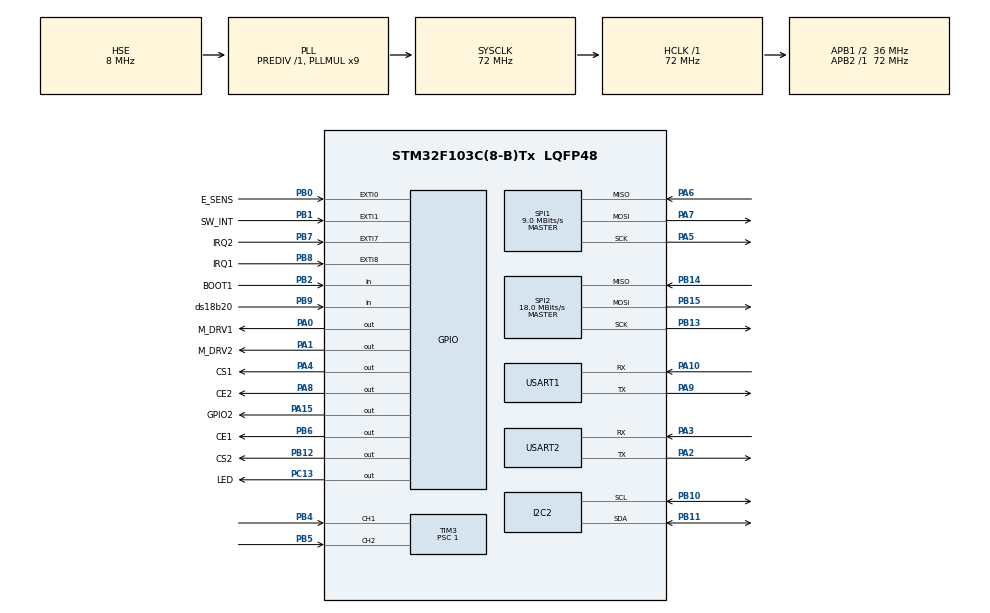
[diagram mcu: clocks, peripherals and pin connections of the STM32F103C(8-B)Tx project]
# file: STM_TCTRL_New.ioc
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Mcu.Family=STM32F1
Mcu.Name=STM32F103C(8-B)Tx
Mcu.Package=LQFP48
NVIC.EXTI0_IRQn=true\:0\:0\:false\:false\:true\:true\:true
NVIC.EXTI1_IRQn=true\:0\:0\:false\:false\:true\:true\:true
NVIC.EXTI9_5_IRQn=true\:0\:0\:false\:false\:true\:true\:true
NVIC.PriorityGroup=NVIC_PRIORITYGROUP_4
NVIC.TIM1_UP_IRQn=true\:0\:0\:false\:false\:true\:true\:true
NVIC.TIM3_IRQn=true\:0\:0\:false\:false\:true\:true\:true
NVIC.USART1_IRQn=true\:0\:0\:false\:false\:true\:true\:true
PA0-WKUP.GPIO_Label=M_DRV1
PA0-WKUP.Signal=GPIO_Output
PA1.GPIO_Label=M_DRV2
PA1.Signal=GPIO_Output
PA10.Mode=Asynchronous
PA10.Signal=USART1_RX
PA13.Mode=Trace_Asynchronous_SW
PA13.Signal=SYS_JTMS-SWDIO
PA14.Mode=Trace_Asynchronous_SW
PA14.Signal=SYS_JTCK-SWCLK
PA15.GPIO_Label=GPIO2
PA15.Signal=GPIO_Output
PA2.Mode=Asynchronous
PA2.Signal=USART2_TX
PA3.Mode=Asynchronous
PA3.Signal=USART2_RX
PA4.GPIO_Label=CS1
PA4.Signal=GPIO_Output
PA5.Mode=Full_Duplex_Master
PA5.Signal=SPI1_SCK
PA6.Mode=Full_Duplex_Master
PA6.Signal=SPI1_MISO
PA7.Mode=Full_Duplex_Master
PA7.Signal=SPI1_MOSI
PA8.GPIO_Label=CE2
PA8.Signal=GPIO_Output
PA9.Mode=Asynchronous
PA9.Signal=USART1_TX
PB0.GPIO_Label=E_SENS
PB0.GPIO_ModeDefaultEXTI=GPIO_MODE_IT_FALLING
PB0.Signal=GPXTI0
PB1.GPIO_Label=SW_INT
PB1.GPIO_ModeDefaultEXTI=GPIO_MODE_IT_FALLING
PB1.Signal=GPXTI1
PB10.Mode=I2C
PB10.Signal=I2C2_SCL
PB11.Mode=I2C
PB11.Signal=I2C2_SDA
PB12.GPIO_Label=CS2
PB12.Signal=GPIO_Output
PB13.Mode=Full_Duplex_Master
PB13.Signal=SPI2_SCK
PB14.Mode=Full_Duplex_Master
PB14.Signal=SPI2_MISO
PB15.Mode=Full_Duplex_Master
PB15.Signal=SPI2_MOSI
PB2.GPIO_Label=BOOT1
PB2.Signal=GPIO_Input
PB3.Mode=Trace_Asynchronous_SW
PB3.Signal=SYS_JTDO-TRACESWO
PB4.Signal=S_TIM3_CH1
PB5.Signal=S_TIM3_CH2
PB6.GPIO_Label=CE1
PB6.Signal=GPIO_Output
PB7.GPIO_Label=IRQ2
PB7.GPIO_ModeDefaultEXTI=GPIO_MODE_IT_FALLING
PB7.GPIO_PuPd=GPIO_PULLUP
PB7.Signal=GPXTI7
PB8.GPIO_Label=IRQ1
PB8.GPIO_ModeDefaultEXTI=GPIO_MODE_IT_FALLING
PB8.GPIO_PuPd=GPIO_PULLUP
PB8.Signal=GPXTI8
PB9.GPIO_Label=ds18b20
PB9.Signal=GPIO_Input
PC13-TAMPER-RTC.GPIO_Label=LED
PC13-TAMPER-RTC.Signal=GPIO_Output
PC14-OSC32_IN.Mode=LSE-External-Oscillator
PC14-OSC32_IN.Signal=RCC_OSC32_IN
PC15-OSC32_OUT.Mode=LSE-External-Oscillator
PC15-OSC32_OUT.Signal=RCC_OSC32_OUT
PD0-OSC_IN.Mode=HSE-External-Oscillator
PD0-OSC_IN.Signal=RCC_OSC_IN
PD1-OSC_OUT.Mode=HSE-External-Oscillator
PD1-OSC_OUT.Signal=RCC_OSC_OUT
ProjectManager.HeapSize=0x800
ProjectManager.StackSize=0x800
ProjectManager.TargetToolchain=MDK-ARM V5
RCC.AHBFreq_Value=72000000
RCC.APB1CLKDivider=RCC_HCLK_DIV2
RCC.APB1Freq_Value=36000000
RCC.APB1TimFreq_Value=72000000
RCC.APB2Freq_Value=72000000
RCC.APB2TimFreq_Value=72000000
RCC.HCLKFreq_Value=72000000
RCC.PLLMUL=RCC_PLL_MUL9
RCC.PLLSourceVirtual=RCC_PLLSOURCE_HSE
RCC.RTCClockSelection=RCC_RTCCLKSOURCE_LSE
RCC.SYSCLKFreq_VALUE=72000000
RCC.SYSCLKSource=RCC_SYSCLKSOURCE_PLLCLK
RCC.USBFreq_Value=48000000
RCC.USBPrescaler=RCC_USBCLKSOURCE_PLL_DIV1_5
SH.S_TIM3_CH1.0=TIM3_CH1,Encoder_Interface
SH.S_TIM3_CH2.0=TIM3_CH2,Encoder_Interface
SPI1.BaudRatePrescaler=SPI_BAUDRATEPRESCALER_8
SPI1.CalculateBaudRate=9.0 MBits/s
SPI1.Direction=SPI_DIRECTION_2LINES
SPI1.Mode=SPI_MODE_MASTER
SPI1.VirtualType=VM_MASTER
SPI2.CalculateBaudRate=18.0 MBits/s
SPI2.Direction=SPI_DIRECTION_2LINES
SPI2.Mode=SPI_MODE_MASTER
SPI2.VirtualType=VM_MASTER
TIM1.ClockDivision=TIM_CLOCKDIVISION_DIV1
TIM1.Period=100
TIM1.Prescaler=35999
TIM3.AutoReloadPreload=TIM_AUTORELOAD_PRELOAD_DISABLE
TIM3.ClockDivision=TIM_CLOCKDIVISION_DIV1
TIM3.EncoderMode=TIM_ENCODERMODE_TI12
TIM3.IC1Filter=10
TIM3.IC1Polarity=TIM_ICPOLARITY_RISING
TIM3.IC1Prescaler=TIM_ICPSC_DIV4
TIM3.IC2Filter=10
TIM3.IC2Polarity=TIM_ICPOLARITY_RISING
TIM3.IC2Prescaler=TIM_ICPSC_DIV4
TIM3.Period=320
TIM3.Prescaler=1
USART1.VirtualMode=VM_ASYNC
USART2.VirtualMode=VM_ASYNC
VP_CRC_VS_CRC.Mode=CRC_Activate
VP_TIM1_VS_ClockSourceINT.Mode=Internal
board=STM_TCTRL_New

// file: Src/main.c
/**
  ******************************************************************************
  * @file           : main.c
  * @brief          : Main program body
  ******************************************************************************
  ** This notice applies to any and all portions of this file
  * that are not between comment pairs USER CODE BEGIN and
  * USER CODE END. Other portions of this file, whether
  * inserted by the user or by software development tools
  * are owned by their respective copyright owners.
  *
  * COPYRIGHT(c) 2019 STMicroelectronics
  *
  * Redistribution and use in source and binary forms, with or without modification,
  * are permitted provided that the following conditions are met:
  *   1. Redistributions of source code must retain the above copyright notice,
  *      this list of conditions and the following disclaimer.
  *   2. Redistributions in binary form must reproduce the above copyright notice,
  *      this list of conditions and the following disclaimer in the documentation
  *      and/or other materials provided with the distribution.
  *   3. Neither the name of STMicroelectronics nor the names of its contributors
  *      may be used to endorse or promote products derived from this software
  *      without specific prior written permission.
  *
  * THIS SOFTWARE IS PROVIDED BY THE COPYRIGHT HOLDERS AND CONTRIBUTORS "AS IS"
  * AND ANY EXPRESS OR IMPLIED WARRANTIES, INCLUDING, BUT NOT LIMITED TO, THE
  * IMPLIED WARRANTIES OF MERCHANTABILITY AND FITNESS FOR A PARTICULAR PURPOSE ARE
  * DISCLAIMED. IN NO EVENT SHALL THE COPYRIGHT HOLDER OR CONTRIBUTORS BE LIABLE
  * FOR ANY DIRECT, INDIRECT, INCIDENTAL, SPECIAL, EXEMPLARY, OR CONSEQUENTIAL
  * DAMAGES (INCLUDING, BUT NOT LIMITED TO, PROCUREMENT OF SUBSTITUTE GOODS OR
  * SERVICES; LOSS OF USE, DATA, OR PROFITS; OR BUSINESS INTERRUPTION) HOWEVER
  * CAUSED AND ON ANY THEORY OF LIABILITY, WHETHER IN CONTRACT, STRICT LIABILITY,
  * OR TORT (INCLUDING NEGLIGENCE OR OTHERWISE) ARISING IN ANY WAY OUT OF THE USE
  * OF THIS SOFTWARE, EVEN IF ADVISED OF THE POSSIBILITY OF SUCH DAMAGE.
  *
  ******************************************************************************
  */
#include "main.h"
#include "stm32f1xx_hal.h"
#include "crc.h"
#include "i2c.h"
#include "spi.h"
#include "tim.h"
#include "usart.h"
#include "gpio.h"

/* USER CODE BEGIN Includes */
//#include <stdout.h>
#include <stdio.h>
#include "ds18b20.h"
#include "7seg.h"
#include "eeprom.h"
#include "drive.h"
#include "io_expander.h"
#include "system.h"
#include "uart_cmd_parser.h"
#include "UART_DBG.h"

/* USER CODE END Includes */

/* USER CODE BEGIN PV */
/* Private variables ---------------------------------------------------------*/

/* USER CODE END PV */

void SystemClock_Config(void);

/* USER CODE BEGIN PFP */
/* Private function prototypes -----------------------------------------------*/

/* USER CODE END PFP */

int main(void)
{

  /* MCU Configuration----------------------------------------------------------*/

  /* Reset of all peripherals, Initializes the Flash interface and the Systick. */
  HAL_Init();

  /* Configure the system clock */
  SystemClock_Config();

  /* USER CODE BEGIN SysInit */

	//ERRATA HAL I2C Debug
  __HAL_RCC_I2C2_CLK_ENABLE();
   HAL_Delay(100);
   __HAL_RCC_I2C2_FORCE_RESET();
   HAL_Delay(100);
   __HAL_RCC_I2C2_RELEASE_RESET();
   HAL_Delay(100);
  /* USER CODE END SysInit */

  /* Initialize all configured peripherals */
  MX_GPIO_Init();
  MX_USART1_UART_Init();
  MX_TIM3_Init();
  MX_SPI1_Init();
  MX_SPI2_Init();
  MX_I2C2_Init();
  MX_USART2_UART_Init();
  MX_TIM1_Init();
  MX_CRC_Init();
  /* USER CODE BEGIN 2 */

//Start timer1 IT
HAL_TIM_Base_Start_IT(&htim1);

//Start timer3 IT
HAL_TIM_Encoder_Start(&htim3, TIM_CHANNEL_ALL);
HAL_TIM_Base_Start_IT(&htim3);

//Arm UART1
HAL_UART_Receive_IT(&huart1, &receive_val, 1);

  /* USER CODE END 2 */

  /* Infinite loop */
  /* USER CODE BEGIN WHILE */

int16_t temp_pos	=0;
SysInit();
//putsUSART("=====================SysInit======================\r\n");
printf("=====================SysInit======================\r\n");

if(!NRF24_Init()){
	if(WL_Check_Addr(0xC0)){
		SysState.nrf24_en_f=0;
		putcSS(SEV_SEG_A);
		PrintDecSevSeg(0);

	}else{
		SysState.nrf24_en_f=1;
		putcSS(SEV_SEG_A);
		PrintDecSevSeg(NRF_RX_ADDR[0]);
	}
	SS_LATCH();
	uint8_t t=5;
	while(t--){

	HAL_Delay(300);
		SS_OE(1);
	HAL_Delay(300);
	SS_OE(0);
	}

}

// if (ds18b20_Init(RESOLUTION_9BIT)) {
//
//    putsUSART("TEMP SENSOR ERROR\r\n");
//  }
//while(1){
////ds18b20_GetTemp();
//	HAL_GPIO_TogglePin(LED_GPIO_Port, LED_Pin);
//	HAL_Delay(2000);
//}

	while (1) {
	  SystemTask();
	  if (!SysState.error_f) {
	    if (!drv_m1.run_f) {
	      if (btn_pressed_f) {
	        if (SysState.view_mode_f) {
	          //=================POSITION MODE====================
	          printf("POS MODE\r\n");
						switch (Buttons_GetCode()) {

	          case BTN_SEL:
	            printf("SEL\r\n");
	            SysState.view_mode_f ^= 1;
	            SysState.ss_update_f = 1;
	            SysCnt.view_mode = 0;
	            break;

	          case LONG_PRESS(BTN_SEL):
	            printf("LONG SEL\r\n");
	            SetMaxPosition();
	            SS_SHOW(POSITION_VIEW);
	            SysCnt.temp_update = 0;
	            SysCnt.temp_ctrl = 0;
	            break;

	          case BTN_UP:
	            printf("UP\r\n");
	            if (drv_m1.dest_pos + temp_pos <= drv_m1.max_pos - 10) {
	              temp_pos += 10;
	            } else {
	              temp_pos = drv_m1.max_pos - drv_m1.dest_pos;
	            }
	            SS_PRINT_POS(drv_m1.dest_pos + temp_pos);
	            SysCnt.view_mode = 0;

	            break;

	          case LONG_PRESS(BTN_UP):
	            printf("LONG UP\r\n");
	            break;

	          case BTN_DOWN:
	            printf("DOWN\r\n");
	            if (drv_m1.dest_pos + temp_pos >= 10) {
	              temp_pos -= 10;
	            } else {
	              temp_pos = -drv_m1.dest_pos;
	            }
	            SS_PRINT_POS(drv_m1.dest_pos + temp_pos);
	            SysCnt.view_mode = 0;
	            break;

	          case LONG_PRESS(BTN_DOWN):
	            printf("LONG DOWN\r\n");
							drv_m1.fail_f=0;
	            Drive_HomeInit();
	            SysState.temp_ctrl_f = 0;
	            //drv_m1.dest_pos = 0;
	            //DRV_CLOSE();

	          default:
	            printf("CODE %d\r\n", Buttons_GetCode());
	            break;
	          } // END POSITION MODE
	        }else {
	          //==============TEMP MODE (Default)=========================
	          printf("TEMP MODE\r\n");
						switch (Buttons_GetCode()) {

	          case BTN_SEL:
	            printf("SEL\r\n");
	            SysState.view_mode_f ^= 1;
	            SysState.ss_update_f = 1;
	            SysCnt.view_mode = 0;

	            break;

	          case LONG_PRESS(BTN_SEL):
	            printf("LONG SEL\r\n");
	            SetTemp();
	            SS_SHOW(TEMP_VIEW);
	            SysCnt.temp_update = 0;
	            SysCnt.temp_ctrl = 0;
	            break;

	          case BTN_UP:
	            printf("UP\r\n");
	            SysCnt.temp_update = SysState.t_updt_time;
	            SysCnt.temp_ctrl = SysState.t_ctrl_time;
	            break;

	          case LONG_PRESS(BTN_UP):
	          SysState.temp_ctrl_f = 1;
	          SysVarRW(WR, &SV[vn_T_CTRL_F]);
	          SysCnt.temp_update = 0;
	          SysCnt.temp_ctrl = 0;
						ds18b20_GetTemp();
	          SS_SHOW(TEMP_VIEW);
						SysState.view_mode_f = TEMP_VIEW;
						SysState.ss_update_f = 1;
						SysCnt.view_mode = 0;
	            break;

	          case BTN_DOWN:
	            printf("DOWN\r\n");

	            break;

	          case LONG_PRESS(BTN_DOWN):
	            printf("LONG DOWN\r\n");
	            SysState.temp_ctrl_f = 0;
	            SysVarRW(WR, &SV[vn_T_CTRL_F]);
	            SS_PRINT_T_NONE();
	            SS_SHOW(TEMP_VIEW);
	            break;

						case LONG_PRESS(BTN_DOWN|BTN_UP):
	            printf("LONG DOWN & UP\r\n");
	            uartInit();
							SysState.uart_en_f=1;
	            break;

	          default:
	            printf("CODE %d\r\n", Buttons_GetCode());
	            break;
	          }
	        } //END TEMP MODE

	      } //END btn_pressed_f

	      // Show position when manual set pos
	      if (!SysState.view_mode_f && (temp_pos != 0)) {
	        drv_m1.dest_pos += temp_pos;
	        temp_pos = 0;
	        SS_SHOW(POSITION_VIEW);
	      }

	    } else {//DRV RUN if (!drv_m1.run_f)
	      if (btn_pressed_f) {
					printf("DRV RUN\r\n");
	        switch (Buttons_GetCode()) {

	        case BTN_SEL:
	          printf("SEL\r\n");
	          drv_m1.stop_req_f = 1;
	          break;

	        default:
	          printf("CODE %d\r\n", Buttons_GetCode());
	          break;

	        }
	      }
	    }
	  }else{//if (!SysState.error_f)
			if(HAL_GPIO_ReadPin(BOOT1_GPIO_Port, BOOT1_Pin) && SysState.uart_en_f==0){
				uartInit();
				SysState.uart_en_f=1;
			}
		}

	}
  /* USER CODE END WHILE */

}

void SystemClock_Config(void)
{

  RCC_OscInitTypeDef RCC_OscInitStruct;
  RCC_ClkInitTypeDef RCC_ClkInitStruct;

    /**Initializes the CPU, AHB and APB busses clocks
    */
  RCC_OscInitStruct.OscillatorType = RCC_OSCILLATORTYPE_HSE;
  RCC_OscInitStruct.HSEState = RCC_HSE_ON;
  RCC_OscInitStruct.HSEPredivValue = RCC_HSE_PREDIV_DIV1;
  RCC_OscInitStruct.HSIState = RCC_HSI_ON;
  RCC_OscInitStruct.PLL.PLLState = RCC_PLL_ON;
  RCC_OscInitStruct.PLL.PLLSource = RCC_PLLSOURCE_HSE;
  RCC_OscInitStruct.PLL.PLLMUL = RCC_PLL_MUL9;
  if (HAL_RCC_OscConfig(&RCC_OscInitStruct) != HAL_OK)
  {
    _Error_Handler(__FILE__, __LINE__);
  }

    /**Initializes the CPU, AHB and APB busses clocks
    */
  RCC_ClkInitStruct.ClockType = RCC_CLOCKTYPE_HCLK|RCC_CLOCKTYPE_SYSCLK
                              |RCC_CLOCKTYPE_PCLK1|RCC_CLOCKTYPE_PCLK2;
  RCC_ClkInitStruct.SYSCLKSource = RCC_SYSCLKSOURCE_PLLCLK;
  RCC_ClkInitStruct.AHBCLKDivider = RCC_SYSCLK_DIV1;
  RCC_ClkInitStruct.APB1CLKDivider = RCC_HCLK_DIV2;
  RCC_ClkInitStruct.APB2CLKDivider = RCC_HCLK_DIV1;

  if (HAL_RCC_ClockConfig(&RCC_ClkInitStruct, FLASH_LATENCY_2) != HAL_OK)
  {
    _Error_Handler(__FILE__, __LINE__);
  }

    /**Configure the Systick interrupt time
    */
  HAL_SYSTICK_Config(HAL_RCC_GetHCLKFreq()/1000);

    /**Configure the Systick
    */
  HAL_SYSTICK_CLKSourceConfig(SYSTICK_CLKSOURCE_HCLK);

  /* SysTick_IRQn interrupt configuration */
  HAL_NVIC_SetPriority(SysTick_IRQn, 0, 0);
}

/* USER CODE BEGIN 4 */
void HAL_GPIO_EXTI_Callback(uint16_t GPIO_Pin)

{

  if(GPIO_Pin== SW_INT_Pin) {

  }
	if (GPIO_Pin == IRQ2_Pin) {

		//NRF24_IRQ_Callback();
	}

}
//void TIM4_IRQHandler(void){
//
//

//  HAL_TIM_IRQHandler(&htim4);
//
//
//  HAL_GPIO_TogglePin(GPIOC, GPIO_PIN_13);
//
//
//}
/* USER CODE END 4 */

void _Error_Handler(char *file, int line)
{
  while(1)
  {
  }
}

/************************ (C) COPYRIGHT STMicroelectronics *****END OF FILE****/
